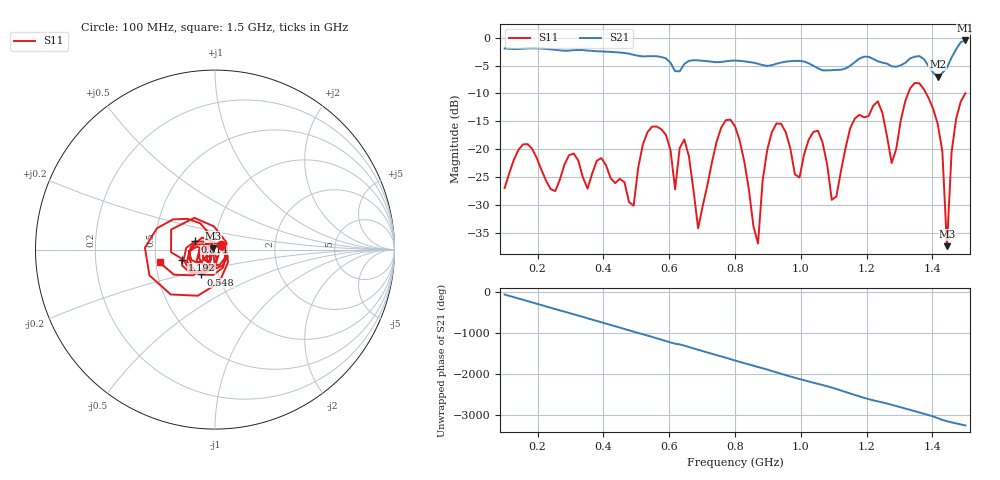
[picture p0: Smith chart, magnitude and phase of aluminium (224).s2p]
! NanoVNA-App
! Date: 2025-09-25 14:57:01
! Start: 100MHz Stop: 1,5GHz Points: 101
! S-Parameter data: F S11 S21 S12 S22
# Hz S RI R 50
!  Frequency  S11_Real  S11_Imag  S21_Real  S21_Imag  S12_Real  S12_Imag  S22_Real  S22_Imag
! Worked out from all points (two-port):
!   101 points, 100 MHz to 1.5 GHz, reference 50 ohm
!   highest |S21| = -0.49 dB at 1.5 GHz (marker M1); lowest = -7.0 dB at 1.416 GHz (marker M2)
!   |S21| within 3 dB of the highest: start of sweep to 578.2 MHz; 1.459 GHz to end of sweep (the widest 2 of 4)
!   lowest |S11| = -37.4 dB at 1.444 GHz (marker M3), VSWR 1.03, Z = 48.9 + j0.784 ohm
!   |S11| at or under -10 dB: start of sweep to 1.326 GHz; 1.381 GHz to 1.5 GHz (118.9 MHz wide, 8.26 % of centre)
!   S12 and S22 are empty: the file has one direction only
!   S11 on the Smith chart (normalised r, x): 100 MHz: 1.07, +0.06; 548 MHz: 0.82, -0.23; 814 MHz: 0.80, +0.07; 1.192 GHz: 0.68, -0.08; 1.5 GHz: 0.52, -0.08
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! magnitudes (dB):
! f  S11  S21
! 100 MHz  -27.0  -1.9
! 338 MHz  -25.1  -2.2
! 492 MHz  -30.1  -3.1
! 548 MHz  -15.9  -3.3
! 576 MHz  -16.4  -3.5
! 618 MHz  -27.2  -6.0
! 646 MHz  -18.3  -4.7
! 688 MHz  -34.2  -4.1
! 800 MHz  -15.9  -4.1
! 814 MHz  -18.4  -4.1
! 870 MHz  -36.9  -4.7
! 912 MHz  -16.9  -4.9
! 996 MHz  -25.1  -4.2
! 1.038 GHz  -16.9  -5.0
! 1.094 GHz  -29.1  -5.8
! 1.192 GHz  -14.3  -3.4
! 1.276 GHz  -22.5  -5.1
! 1.346 GHz  -8.1  -3.4
! 1.416 GHz  -15.5  -7.0
! 1.444 GHz  -37.4  -5.4
! 1.458 GHz  -20.5  -3.6
! 1.5 GHz  -10.0  -0.5
